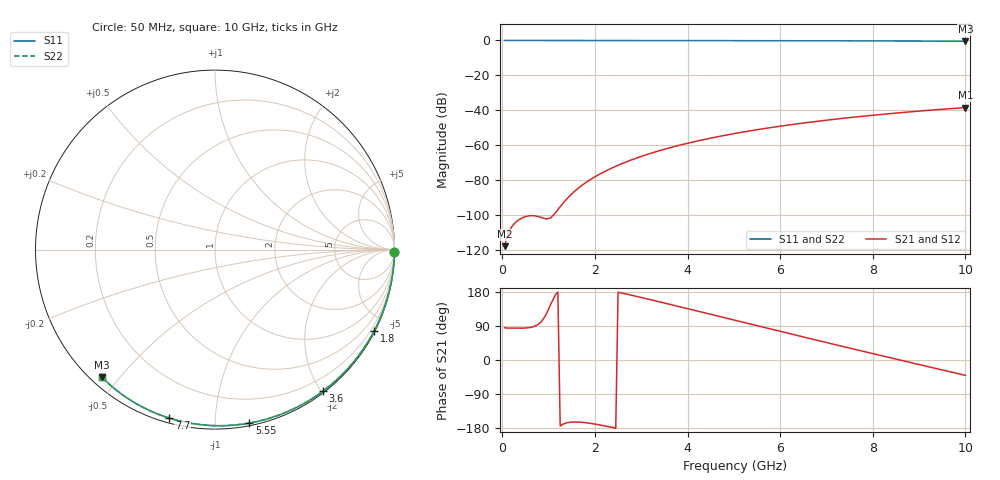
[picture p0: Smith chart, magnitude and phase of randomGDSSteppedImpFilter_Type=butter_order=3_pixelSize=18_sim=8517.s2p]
! freq	dB(S11)	phase(S11)	dB(S12)	phase(S12)
!  dB(S21)	phase(S21)	dB(S22)	phase(S22)
!S-par simulation data
#  GHz  S  DB  R 50
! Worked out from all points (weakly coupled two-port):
!   200 points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, 50 MHz to 10 GHz, reference 50 ohm
!   highest |S21| = -38.40 dB at 10 GHz (marker M1); lowest = -117.7 dB at 50 MHz (marker M2)
!   lowest |S11| = -0.4 dB at 10 GHz (marker M3), VSWR 39.04, Z = 1.54 - j22.4 ohm
!   |S11| at or under -10 dB: nowhere
!   |S22| runs from -0.4 to 0.0 dB; largest |S21 - S12| = 0
!   S11 on the Smith chart (normalised r, x): 50 MHz: open; 1.8 GHz: 0.04, -4.17; 3.6 GHz: 0.02, -2.02; 5.55 GHz: 0.02, -1.22; 7.7 GHz: 0.02, -0.76; 10 GHz: 0.03, -0.45
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0.05  -0.00 -0.8  -117.70 85.2  -117.70 85.2  -0.00 -0.8
0.9  -0.02 -13.6  -101.79 111.1  -101.79 111.1  -0.02 -13.6
1.75  -0.03 -26.2  -82.31 -164.8  -82.31 -164.8  -0.03 -26.2
1.8  -0.03 -27.0  -81.37 -165.5  -81.37 -165.5  -0.03 -27.0
1.85  -0.04 -27.7  -80.48 -166.3  -80.48 -166.3  -0.04 -27.7
1.9  -0.04 -28.4  -79.63 -167.1  -79.63 -167.1  -0.04 -28.4
2.05  -0.04 -30.6  -77.25 -170.1  -77.25 -170.1  -0.04 -30.6
2.25  -0.04 -33.6  -74.45 -174.8  -74.45 -174.8  -0.04 -33.6
2.45  -0.05 -36.5  -71.97 -179.8  -71.97 -179.8  -0.05 -36.5
2.65  -0.05 -39.3  -69.75 174.8  -69.75 174.8  -0.05 -39.3
3  -0.06 -44.3  -66.34 165.0  -66.34 165.0  -0.06 -44.3
3.4  -0.07 -50.0  -63.01 153.4  -63.01 153.4  -0.07 -50.0
3.6  -0.07 -52.7  -61.52 147.5  -61.52 147.5  -0.07 -52.7
4.3  -0.09 -62.3  -57.01 126.6  -57.01 126.6  -0.09 -62.3
5.05  -0.11 -72.3  -53.08 104.1  -53.08 104.1  -0.11 -72.3
5.55  -0.13 -78.8  -50.85 89.1  -50.85 89.1  -0.13 -78.8
6.1  -0.15 -85.8  -48.68 72.7  -48.68 72.7  -0.15 -85.8
6.7  -0.18 -93.2  -46.58 54.9  -46.58 54.9  -0.18 -93.2
7.7  -0.24 -105.2  -43.59 25.5  -43.59 25.5  -0.24 -105.2
8.35  -0.29 -112.8  -41.91 6.7  -41.91 6.7  -0.29 -112.8
9.15  -0.36 -122.0  -40.09 -16.2  -40.09 -16.2  -0.36 -122.0
10  -0.45 -131.6  -38.40 -40.5  -38.40 -40.5  -0.45 -131.6
